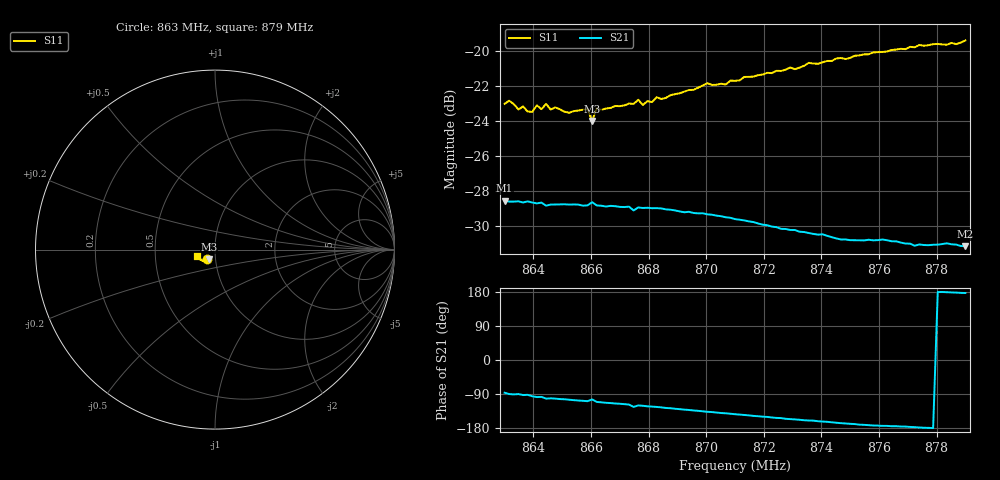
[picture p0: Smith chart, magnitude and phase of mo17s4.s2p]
# HZ S RI R 50
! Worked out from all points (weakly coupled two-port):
!   101 points, 863 MHz to 879 MHz, reference 50 ohm
!   highest |S21| = -28.54 dB at 863 MHz (marker M1); lowest = -31.1 dB at 879 MHz (marker M2)
!   lowest |S11| = -24.0 dB at 866.04 MHz (marker M3), VSWR 1.13, Z = 46.5 - j5.04 ohm
!   |S11| at or under -10 dB: start of sweep to end of sweep
!   S12 and S22 are empty: the file has one direction only
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8.63e8  -0.0462 -0.0535  0.00235 -0.0373  0 0  0 0
8.6316e8  -0.0496 -0.0524  8.9e-05 -0.0372  0 0  0 0
8.6348e8  -0.0437 -0.0523  9.5e-05 -0.0373  0 0  0 0
8.6364e8  -0.0463 -0.0518  -0.00162 -0.0369  0 0  0 0
8.638e8  -0.0426 -0.052  -0.00124 -0.0372  0 0  0 0
8.6412e8  -0.0475 -0.0514  -0.005 -0.0364  0 0  0 0
8.6428e8  -0.0442 -0.0521  -0.00476 -0.0366  0 0  0 0
8.6444e8  -0.0488 -0.0511  -0.00749 -0.0354  0 0  0 0
8.646e8  -0.0447 -0.0514  -0.00706 -0.0358  0 0  0 0
8.6524e8  -0.0427 -0.0512  -0.00933 -0.0353  0 0  0 0
8.6572e8  -0.0424 -0.0532  -0.011 -0.0345  0 0  0 0
8.6588e8  -0.0424 -0.0536  -0.0116 -0.0344  0 0  0 0
8.6604e8  -0.033 -0.0539  -0.00899 -0.0359  0 0  0 0
8.662e8  -0.0415 -0.0549  -0.0128 -0.0339  0 0  0 0
8.6764e8  -0.0423 -0.0591  -0.0178 -0.031  0 0  0 0
8.678e8  -0.0411 -0.057  -0.0183 -0.0306  0 0  0 0
8.6844e8  -0.0421 -0.0596  -0.0204 -0.0291  0 0  0 0
8.7004e8  -0.0496 -0.0641  -0.0249 -0.0235  0 0  0 0
8.71e8  -0.0517 -0.064  -0.0265 -0.0199  0 0  0 0
8.7372e8  -0.0673 -0.063  -0.0283 -0.0103  0 0  0 0
8.7644e8  -0.0869 -0.051  -0.0285 -0.00263  0 0  0 0
8.79e8  -0.1021 -0.0329  -0.0277 0.00155  0 0  0 0
